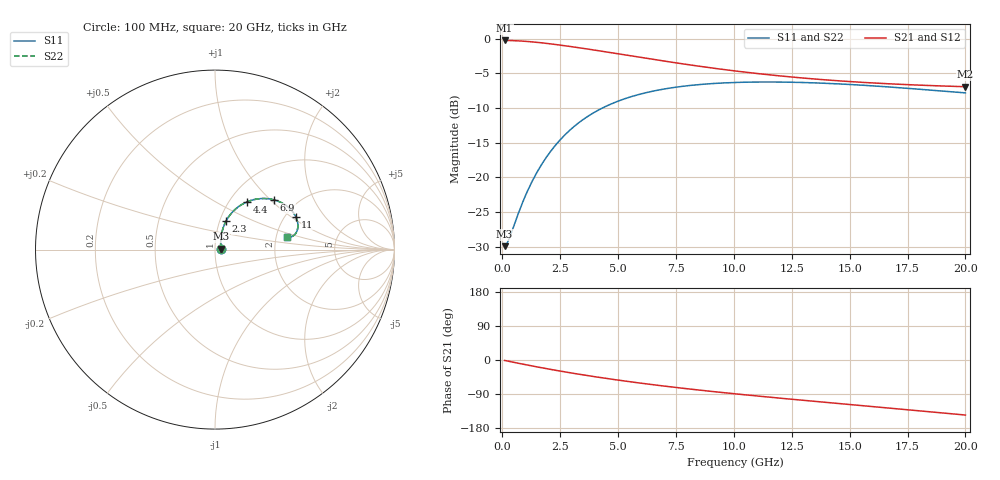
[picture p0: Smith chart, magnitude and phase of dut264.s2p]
! Created with skrf 1.9.0 (http://scikit-rf.org).
# GHz S RI R 50.0
!freq ReS11 ImS11 ReS21 ImS21 ReS12 ImS12 ReS22 ImS22
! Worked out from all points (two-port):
!   200 points, 100 MHz to 20 GHz, reference 50 ohm
!   highest |S21| = -0.28 dB at 100 MHz (marker M1); lowest = -6.9 dB at 20 GHz (marker M2)
!   |S21| within 3 dB of the highest: start of sweep to 7.048 GHz
!   lowest |S11| = -29.9 dB at 100 MHz (marker M3), VSWR 1.07, Z = 53.3 + j0.482 ohm
!   |S11| at or under -10 dB: start of sweep to 4.335 GHz
!   |S22| runs from -29.9 to -6.3 dB; largest |S21 - S12| = 2e-15
!   S11 on the Smith chart (normalised r, x): 100 MHz: 1.07, +0.01; 2.3 GHz: 1.07, +0.35; 4.4 GHz: 1.20, +0.71; 6.9 GHz: 1.55, +1.05; 11 GHz: 2.27, +1.09; 20 GHz: 2.29, +0.38
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0.1  0.0315 0.00452  0.9681 -0.0193  0.9681 -0.0193  0.0315 0.00452
0.2  0.0311 0.0117  0.9674 -0.0413  0.9674 -0.0413  0.0311 0.0117
0.3  0.0311 0.0185  0.9656 -0.0626  0.9656 -0.0626  0.0311 0.0185
0.9  0.0331 0.0586  0.9391 -0.1845  0.9391 -0.1845  0.0331 0.0586
1.3  0.0369 0.0867  0.9092 -0.2587  0.9092 -0.2587  0.0369 0.0867
1.5  0.0399 0.1012  0.8914 -0.2932  0.8914 -0.2932  0.0399 0.1012
1.8  0.0461 0.1231  0.8616 -0.3416  0.8616 -0.3416  0.0461 0.1231
2.3  0.0615 0.159  0.806 -0.4128  0.806 -0.4128  0.0615 0.159
2.9  0.0879 0.1985  0.7328 -0.4833  0.7328 -0.4833  0.0879 0.1985
3.5  0.1212 0.2315  0.6563 -0.5385  0.6563 -0.5385  0.1212 0.2315
4.4  0.1784 0.2658  0.541 -0.5961  0.541 -0.5961  0.1784 0.2658
5.5  0.2496 0.2837  0.4073 -0.633  0.4073 -0.633  0.2496 0.2837
6.8  0.3237 0.2785  0.2671 -0.6423  0.2671 -0.6423  0.3237 0.2785
6.9  0.3287 0.2772  0.2573 -0.6419  0.2573 -0.6419  0.3287 0.2772
8.4  0.3915 0.2489  0.1244 -0.6226  0.1244 -0.6226  0.3915 0.2489
10.1  0.436 0.2065  0.0046 -0.5825  0.0046 -0.5825  0.436 0.2065
11  0.4498 0.1835  -0.0483 -0.5575  -0.0483 -0.5575  0.4498 0.1835
13.4  0.4619 0.1287  -0.1636 -0.4852  -0.1636 -0.4852  0.4619 0.1287
15.1  0.4548 0.0991  -0.2292 -0.4312  -0.2292 -0.4312  0.4548 0.0991
16.7  0.4404 0.0799  -0.2824 -0.3778  -0.2824 -0.3778  0.4404 0.0799
18.4  0.4202 0.0696  -0.331 -0.3174  -0.331 -0.3174  0.4202 0.0696
20  0.3996 0.0698  -0.3692 -0.256  -0.3692 -0.256  0.3996 0.0698
